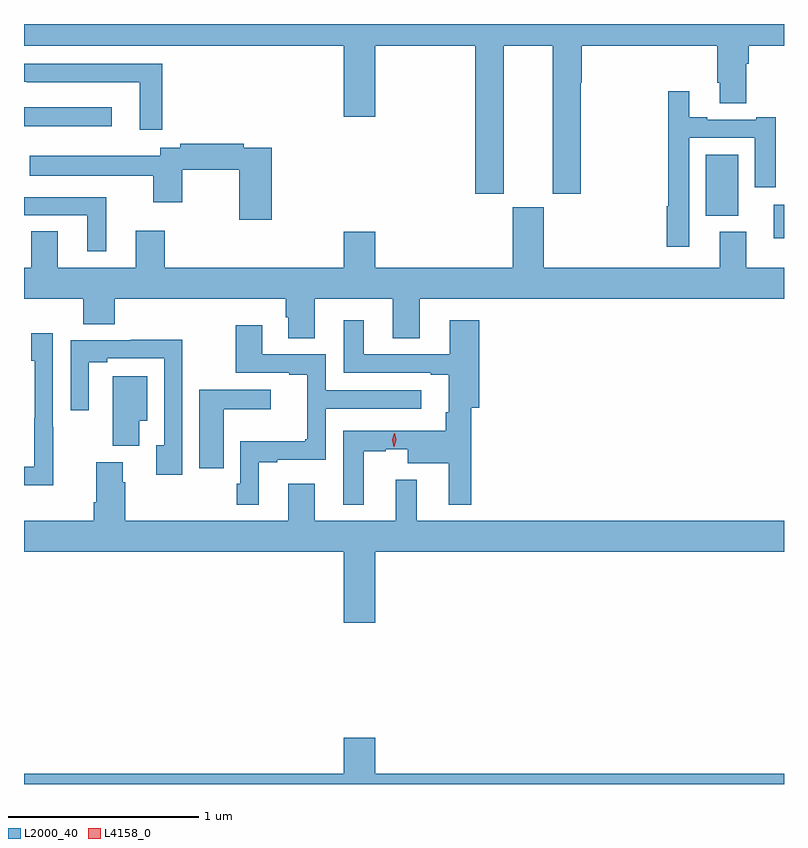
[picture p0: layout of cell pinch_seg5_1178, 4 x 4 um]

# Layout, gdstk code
import gdstk
lib = gdstk.Library(unit=1e-6, precision=1e-09)
def R(c, l, rs):  # rectangles x0, y0, x1, y1
    for r in rs: c.add(gdstk.rectangle(r[:2], r[2:], *l))
def P(c, l, *ps):  # polygons
    for p in ps: c.add(gdstk.Polygon(p, *l))
L2000_40 = (2000, 40)
L4158_0 = (4158, 0)

pinch_seg5_1178 = lib.new_cell('pinch_seg5_1178')
R(pinch_seg5_1178, L2000_40, [(562.874,894.374,562.928,894.55), (562.517,894.494,562.687,894.814), (558.928,894.965,559.39,895.063)])
P(pinch_seg5_1178, L2000_40, [(561.454,895.388),(561.71,895.388),(561.71,894.609),(561.858,894.609),(561.858,895.192),(561.863,895.192),(561.863,895.388),(562.577,895.388),(562.577,895.192),(562.589,895.192),(562.589,895.084),(562.729,895.084),(562.729,895.292),(562.742,895.292),(562.742,895.388),(562.928,895.388),(562.928,895.502),(558.928,895.502),(558.928,895.388),(560.612,895.388),(560.612,895.014),(560.776,895.014),(560.776,895.388),(561.302,895.388),(561.302,894.609),(561.454,894.609)],
  [(559.655,895.293),(558.928,895.293),(558.928,895.197),(558.943,895.197),(558.943,895.196),(559.538,895.196),(559.538,894.945),(559.655,894.945)],
  [(562.428,894.903),(562.775,894.903),(562.775,894.642),(562.885,894.642),(562.885,895.012),(562.781,895.012),(562.781,894.999),(562.525,894.999),(562.525,895.012),(562.429,895.012),(562.429,895.147),(562.32,895.147),(562.32,894.542),(562.312,894.542),(562.312,894.33),(562.428,894.33)],
  [(560.231,894.852),(560.084,894.852),(560.084,894.872),(559.75,894.872),(559.75,894.852),(559.646,894.852),(559.646,894.808),(558.959,894.808),(558.959,894.704),(559.607,894.704),(559.607,894.564),(559.762,894.564),(559.762,894.736),(560.06,894.736),(560.06,894.471),(560.231,894.471)],
  [(559.36,894.452),(559.362,894.452),(559.362,894.591),(558.928,894.591),(558.928,894.495),(559.262,894.495),(559.262,894.305),(559.36,894.305)],
  [(560.458,894.056),(560.87,894.056),(560.87,893.848),(561.01,893.848),(561.01,894.056),(562.928,894.056),(562.928,894.22),(562.729,894.22),(562.729,894.409),(562.589,894.409),(562.589,894.22),(561.664,894.22),(561.664,894.537),(561.5,894.537),(561.5,894.22),(560.776,894.22),(560.776,894.409),(560.612,894.409),(560.612,894.22),(559.67,894.22),(559.67,894.415),(559.517,894.415),(559.517,894.22),(559.105,894.22),(559.105,894.41),(558.965,894.41),(558.965,894.22),(558.928,894.22),(558.928,894.056),(559.241,894.056),(559.241,893.923),(559.406,893.923),(559.406,894.056),(560.306,894.056),(560.306,893.958),(560.318,893.958),(560.318,893.848),(560.458,893.848)],
  [(560.716,893.253),(560.832,893.253),(560.832,893.264),(560.948,893.264),(560.948,893.189),(561.164,893.189),(561.164,892.973),(561.283,892.973),(561.283,893.483),(561.323,893.483),(561.323,893.944),(561.17,893.944),(561.17,893.763),(560.716,893.763),(560.716,893.944),(560.612,893.944),(560.612,893.667),(561.068,893.667),(561.068,893.655),(561.164,893.655),(561.164,893.458),(561.147,893.458),(561.147,893.361),(560.609,893.361),(560.609,892.973),(560.716,892.973)],
  [(560.164,893.196),(560.26,893.196),(560.26,893.208),(560.517,893.208),(560.517,893.478),(561.019,893.478),(561.019,893.574),(560.517,893.574),(560.517,893.763),(560.182,893.763),(560.182,893.917),(560.042,893.917),(560.042,893.667),(560.324,893.667),(560.324,893.655),(560.42,893.655),(560.42,893.317),(560.409,893.317),(560.409,893.305),(560.067,893.305),(560.067,893.083),(560.047,893.083),(560.047,892.973),(560.164,892.973)],
  [(559.083,893.381),(559.08,893.381),(559.08,893.875),(558.965,893.875),(558.965,893.73),(558.984,893.73),(558.984,893.426),(558.983,893.426),(558.983,893.172),(558.928,893.172),(558.928,893.075),(559.083,893.075)],
  [(559.761,893.84),(559.489,893.84),(559.489,893.838),(559.173,893.838),(559.173,893.469),(559.269,893.469),(559.269,893.723),(559.366,893.723),(559.366,893.742),(559.665,893.742),(559.665,893.286),(559.625,893.286),(559.625,893.13),(559.761,893.13)],
  [(559.534,893.415),(559.576,893.415),(559.576,893.647),(559.394,893.647),(559.394,893.281),(559.534,893.281)],
  [(559.978,893.474),(560.227,893.474),(560.227,893.578),(559.85,893.578),(559.85,893.163),(559.978,893.163)],
  [(560.776,892.724),(562.928,892.724),(562.928,892.888),(560.995,892.888),(560.995,893.104),(560.885,893.104),(560.885,892.888),(560.458,892.888),(560.458,893.083),(560.318,893.083),(560.318,892.888),(559.46,892.888),(559.46,893.09),(559.447,893.09),(559.447,893.196),(559.307,893.196),(559.307,892.984),(559.295,892.984),(559.295,892.888),(558.928,892.888),(558.928,892.724),(560.612,892.724),(560.612,892.35),(560.776,892.35)],
  [(562.928,891.556),(560.776,891.556),(560.776,891.745),(560.612,891.745),(560.612,891.556),(558.928,891.556),(558.928,891.502),(562.928,891.502)])
P(pinch_seg5_1178, L4158_0, [(560.875,893.277),(560.875,893.278),(560.866,893.313),(560.877,893.348),(560.878,893.348),(560.878,893.348),(560.886,893.313),(560.876,893.278)])

lib.write_gds('pinch_seg5_1178.gds')
